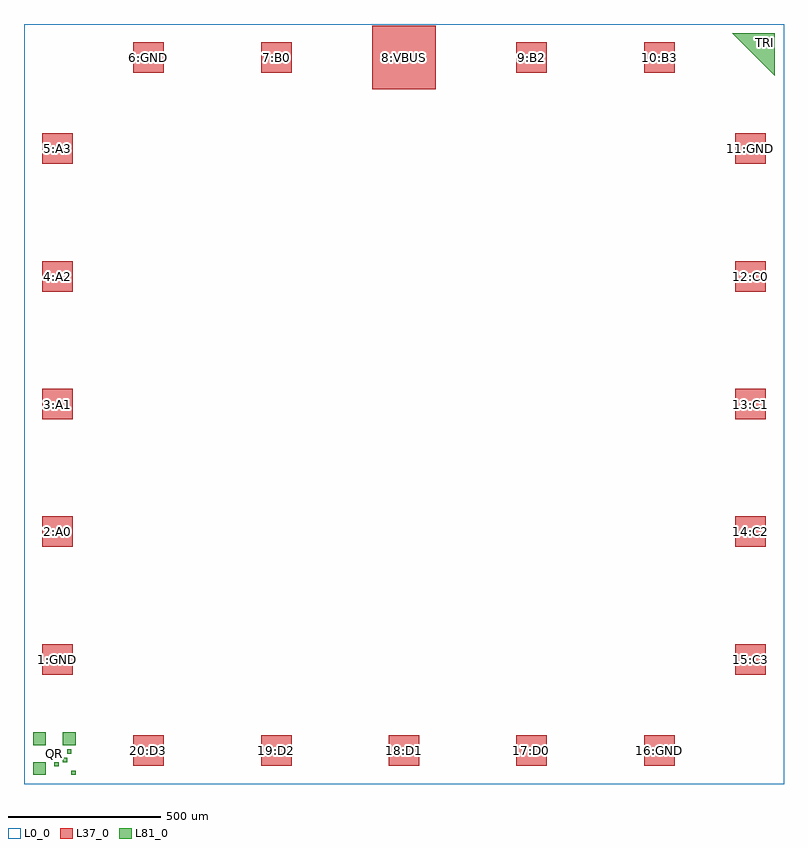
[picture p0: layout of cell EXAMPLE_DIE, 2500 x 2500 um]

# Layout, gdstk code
import gdstk
lib = gdstk.Library(unit=1e-6, precision=1e-09)
def R(c, l, rs):  # rectangles x0, y0, x1, y1
    for r in rs: c.add(gdstk.rectangle(r[:2], r[2:], *l))
def A(c, l, x, y, w, h, nx, ny, dx, dy):  # array of equal rectangles
    R(c, l, [(x+i*dx, y+j*dy, x+i*dx+w, y+j*dy+h) for i in range(nx) for j in range(ny)])
def P(c, l, *ps):  # polygons
    for p in ps: c.add(gdstk.Polygon(p, *l))
L0_0 = (0, 0)
L37_0 = (37, 0)
L81_0 = (81, 0)

example_die = lib.new_cell('EXAMPLE_DIE')
R(example_die, L0_0, [(0,0,2500,2500)])
A(example_die, L37_0, 360, 60, 100, 100, 5, 1, 420, 0)
A(example_die, L37_0, 60, 360, 100, 100, 1, 5, 0, 420)
A(example_die, L37_0, 2340, 360, 100, 100, 1, 5, 0, 420)
R(example_die, L37_0, [(1145,2285,1355,2495), (360,2340,460,2440), (780,2340,880,2440), (1620,2340,1720,2440), (2040,2340,2140,2440)])
R(example_die, L81_0, [(30,30,72,72), (156,30,170,44), (100,58,114,72), (128,72,142,86), (86,86,100,100), (142,100,156,114), (30,128,72,170), (128,128,170,170)])
P(example_die, L81_0, [(2470,2470),(2330,2470),(2470,2330)])
example_die.add(gdstk.Label('1:GND', (110,410), layer=53, texttype=0))
example_die.add(gdstk.Label('2:A0', (110,830), layer=53, texttype=0))
example_die.add(gdstk.Label('3:A1', (110,1250), layer=53, texttype=0))
example_die.add(gdstk.Label('4:A2', (110,1670), layer=53, texttype=0))
example_die.add(gdstk.Label('5:A3', (110,2090), layer=53, texttype=0))
example_die.add(gdstk.Label('6:GND', (410,2390), layer=53, texttype=0))
example_die.add(gdstk.Label('7:B0', (830,2390), layer=53, texttype=0))
example_die.add(gdstk.Label('8:VBUS', (1250,2390), layer=53, texttype=0))
example_die.add(gdstk.Label('9:B2', (1670,2390), layer=53, texttype=0))
example_die.add(gdstk.Label('10:B3', (2090,2390), layer=53, texttype=0))
example_die.add(gdstk.Label('11:GND', (2390,2090), layer=53, texttype=0))
example_die.add(gdstk.Label('12:C0', (2390,1670), layer=53, texttype=0))
example_die.add(gdstk.Label('13:C1', (2390,1250), layer=53, texttype=0))
example_die.add(gdstk.Label('14:C2', (2390,830), layer=53, texttype=0))
example_die.add(gdstk.Label('15:C3', (2390,410), layer=53, texttype=0))
example_die.add(gdstk.Label('16:GND', (2090,110), layer=53, texttype=0))
example_die.add(gdstk.Label('17:D0', (1670,110), layer=53, texttype=0))
example_die.add(gdstk.Label('18:D1', (1250,110), layer=53, texttype=0))
example_die.add(gdstk.Label('19:D2', (830,110), layer=53, texttype=0))
example_die.add(gdstk.Label('20:D3', (410,110), layer=53, texttype=0))
example_die.add(gdstk.Label('QR', (100,100), layer=81, texttype=10))
example_die.add(gdstk.Label('TRI', (2440,2440), layer=81, texttype=10))

lib.write_gds('EXAMPLE_DIE.gds')
